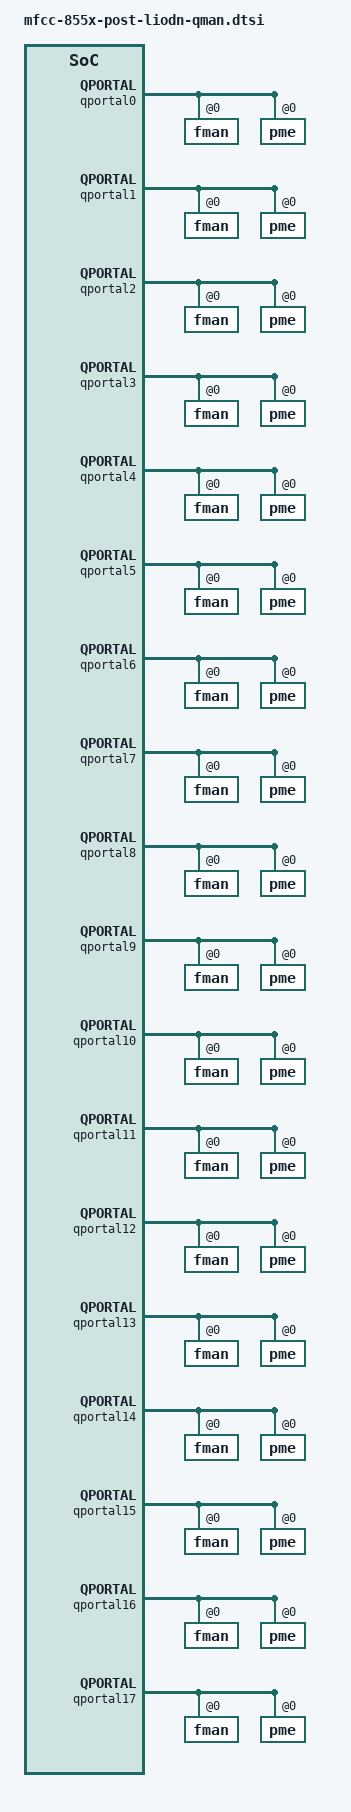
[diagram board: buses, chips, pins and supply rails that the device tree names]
&qportal0 {
	fsl,liodn = <1 27>;
	fman@0 {
		fsl,liodn = <974>;
	};
	pme@0 {
		fsl,liodn = <771 847>;
	};
};

&qportal1 {
	fsl,liodn = <2 28>;
	fman@0 {
		fsl,liodn = <975>;
	};
	pme@0 {
		fsl,liodn = <772 848>;
	};
};

&qportal2 {
	fsl,liodn = <3 29>;
	fman@0 {
		fsl,liodn = <976>;
	};
	pme@0 {
		fsl,liodn = <773 849>;
	};
};

&qportal3 {
	fsl,liodn = <4 30>;
	fman@0 {
		fsl,liodn = <977>;
	};
	pme@0 {
		fsl,liodn = <774 850>;
	};
};

&qportal4 {
	fsl,liodn = <5 31>;
	fman@0 {
		fsl,liodn = <978>;
	};
	pme@0 {
		fsl,liodn = <775 851>;
	};
};

&qportal5 {
	fsl,liodn = <6 32>;
	fman@0 {
		fsl,liodn = <979>;
	};
	pme@0 {
		fsl,liodn = <776 852>;
	};
};

&qportal6 {
	fsl,liodn = <7 33>;
	fman@0 {
		fsl,liodn = <980>;
	};
	pme@0 {
		fsl,liodn = <777 853>;
	};
};

&qportal7 {
	fsl,liodn = <8 34>;
	fman@0 {
		fsl,liodn = <981>;
	};
	pme@0 {
		fsl,liodn = <778 854>;
	};
};

&qportal8 {
	fsl,liodn = <9 35>;
	fman@0 {
		fsl,liodn = <982>;
	};
	pme@0 {
		fsl,liodn = <779 855>;
	};
};

&qportal9 {
	fsl,liodn = <10 36>;
	fman@0 {
		fsl,liodn = <983>;
	};
	pme@0 {
		fsl,liodn = <780 856>;
	};
};

&qportal10 {
	fsl,liodn = <11 37>;
	fman@0 {
		fsl,liodn = <984>;
	};
	pme@0 {
		fsl,liodn = <781 857>;
	};
};

&qportal11 {
	fsl,liodn = <12 38>;
	fman@0 {
		fsl,liodn = <985>;
	};
	pme@0 {
		fsl,liodn = <782 858>;
	};
};

&qportal12 {
	fsl,liodn = <13 39>;
	fman@0 {
		fsl,liodn = <986>;
	};
	pme@0 {
		fsl,liodn = <783 859>;
	};
};

&qportal13 {
	fsl,liodn = <14 40>;
	fman@0 {
		fsl,liodn = <987>;
	};
	pme@0 {
		fsl,liodn = <784 860>;
	};
};

&qportal14 {
	fsl,liodn = <15 41>;
	fman@0 {
		fsl,liodn = <988>;
	};
	pme@0 {
		fsl,liodn = <785 861>;
	};
};

&qportal15 {
	fsl,liodn = <16 42>;
	fman@0 {
		fsl,liodn = <989>;
	};
	pme@0 {
		fsl,liodn = <786 862>;
	};
};

&qportal16 {
	fsl,liodn = <17 43>;
	fman@0 {
		fsl,liodn = <990>;
	};
	pme@0 {
		fsl,liodn = <787 863>;
	};
};

&qportal17 {
	fsl,liodn = <18 44>;
	fman@0 {
		fsl,liodn = <991>;
	};
	pme@0 {
		fsl,liodn = <788 864>;
	};
};
